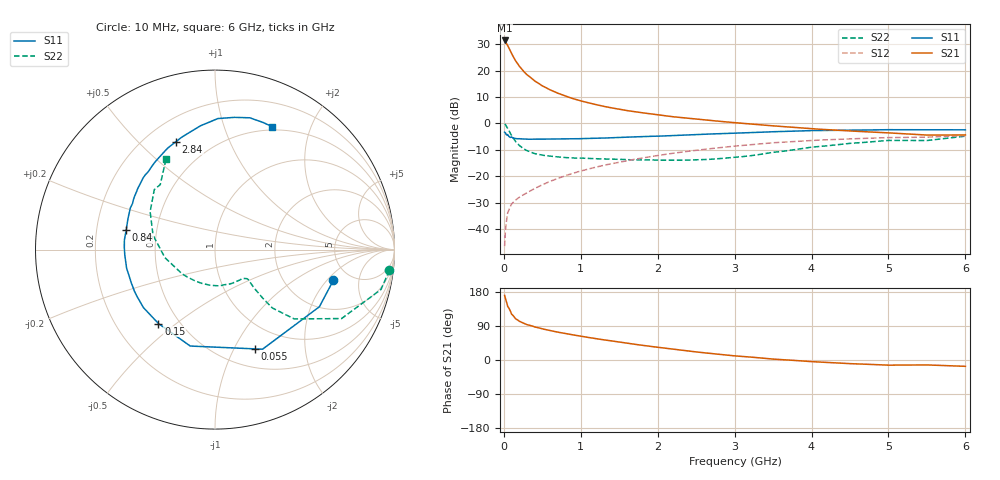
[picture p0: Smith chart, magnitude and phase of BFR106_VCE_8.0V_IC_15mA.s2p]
! Infineon Technologies  Discrete & RF Semiconductors
! BFR106
! VCE =  8.0 V,  IC =  15 mA
! Common Emitter S-Parameters:  Nov 2015
# GHz  S  MA  R  50
!  f  S11  S21  S12  S22
! GHz  MAG  ANG  MAG  ANG  MAG  ANG  MAG  ANG
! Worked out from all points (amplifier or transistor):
!   210 points, 10 MHz to 6 GHz, reference 50 ohm
!   highest |S21| = 31.4 dB at 10 MHz (marker M1)
!   |S21| within 3 dB of that: start of sweep to 68.04 MHz
!   unconditionally stable (mu >= 1): 432.7 MHz to 2.06 GHz
!   at 185 MHz: K = 0.67, MSG = 25.4 dB, |S12| = -28.4 dB
!   at 1.52 GHz: K = 1.06, MAG = 8.4 dB, |S12| = -14.6 dB
!   at 6 GHz: K = 0.99, MSG = 0.1 dB, |S12| = -4.6 dB
!   S11 on the Smith chart (normalised r, x): 10 MHz: 3.70, -2.35; 55 MHz: 0.71, -1.22; 150 MHz: 0.38, -0.43; 840 MHz: 0.33, +0.10; 2.84 GHz: 0.32, +0.65; 6 GHz: 0.46, +1.47
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0.01  0.6814 -14.5  37.36 170.3  0.0047 81.9  0.9786 -6.8
0.02  0.6631 -28.7  36.14 162.5  0.0089 76.7  0.9511 -13.5
0.05  0.6149 -64.5  29.99 141.6  0.02 63.7  0.8031 -28.6
0.055  0.597 -67.9  28.98 140.2  0.0209 62.2  0.7801 -29.5
0.1  0.5547 -104.4  21.12 121.3  0.0296 53.1  0.5866 -41.2
0.15  0.5186 -127.4  15.53 109.3  0.0349 51.6  0.4558 -45.5
0.2  0.5132 -140.9  12.23 102.4  0.0396 52.5  0.3828 -45.5
0.24  0.5069 -149.0  10.38 98.3  0.0431 54.1  0.3429 -45.1
0.3  0.5018 -158.2  8.385 93.3  0.0482 56.5  0.3052 -44.5
0.4  0.5032 -168.2  6.396 87.4  0.0581 59.5  0.2674 -42.9
0.5  0.5036 -175.4  5.148 82.1  0.0684 62.1  0.2494 -42.0
0.6  0.5054 178.6  4.334 77.7  0.0794 63.4  0.2395 -42.5
0.7  0.5076 173.9  3.745 73.5  0.0903 64.7  0.2316 -44.1
0.84  0.5065 167.8  3.15 68.5  0.1065 65.0  0.223 -46.1
1.02  0.5149 160.2  2.624 62.2  0.1273 65.1  0.2193 -50.3
1.4  0.5356 147.6  1.965 50.4  0.1719 63.4  0.211 -62.2
2.02  0.573 130.1  1.439 33.0  0.2486 57.5  0.2007 -89.1
2.84  0.6397 109.8  1.085 14.2  0.3507 46.9  0.2173 -135.5
3.1  0.6604 104.3  1.004 9.4  0.3817 43.0  0.2342 -150.2
4.1  0.7324 87.3  0.776 -5.3  0.4828 27.0  0.3643 163.0
5.1  0.7584 74.0  0.649 -13.5  0.5397 12.2  0.4748 134.3
6  0.7554 65.0  0.604 -16.7  0.5869 1.2  0.5724 118.5
